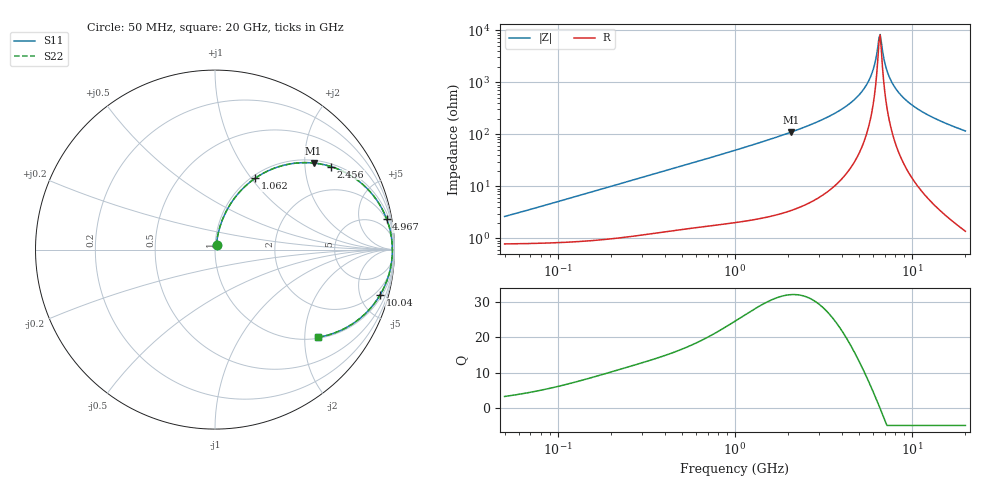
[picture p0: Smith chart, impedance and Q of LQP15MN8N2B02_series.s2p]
!Murata Part Number: LQP15MN8N2B02
!These Parameters are Measured in Series Mode Connection
!  o--[Z]--o
!Port1  Port2
!  o-------o
!Freq. Start=50[MHz] Stop=20[GHz], 401[Steps]
# Hz S RI R 50
!Freq.(Hz) S11(Real) S11(Imag) S21(Real) S21(Imag) S12(Real) S12(Imag) S22(Real) S22(Imag)
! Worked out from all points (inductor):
!   401 points, 50 MHz to 20 GHz, reference 50 ohm
!   read as one part in series: L = 8 nH near 51.52 MHz
!   highest Q = 32.1 at 2.083 GHz (marker M1), where L = 8.46 nH
!   self-resonance near 6.503 GHz
!   S11 on the Smith chart (normalised r, x): 50 MHz: 1.02, +0.05; 1.062 GHz: 1.04, +1.05; 2.456 GHz: 1.09, +2.73; 4.967 GHz: 2, +11; 10.04 GHz: 1.28, -7.20; 20 GHz: 1.03, -2.32
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5e7  0.00836 0.0247  0.9916 -0.0247  0.9916 -0.0247  0.00836 0.0247
1.364002e8  0.0132 0.0668  0.9868 -0.0668  0.9868 -0.0668  0.0132 0.0668
3.721004e8  0.0441 0.1732  0.9559 -0.1732  0.9559 -0.1732  0.0441 0.1732
1e9  0.2049 0.3838  0.7951 -0.3838  0.7951 -0.3838  0.2049 0.3838
1.061746e9  0.2246 0.3981  0.7754 -0.3981  0.7754 -0.3981  0.2246 0.3981
2.083303e9  0.5495 0.4822  0.4505 -0.4822  0.4505 -0.4822  0.5495 0.4822
2.456456e9  0.6462 0.4626  0.3538 -0.4626  0.3538 -0.4626  0.6462 0.4626
2.728004e9  0.7065 0.4394  0.2935 -0.4394  0.2935 -0.4394  0.7065 0.4394
3.850025e9  0.8763 0.3084  0.1237 -0.3084  0.1237 -0.3084  0.8763 0.3084
4.966507e9  0.9563 0.1711  0.0437 -0.1711  0.0437 -0.1711  0.9563 0.1711
5.433528e9  0.9732 0.1177  0.0268 -0.1177  0.0268 -0.1177  0.9732 0.1177
5.856089e9  0.9825 0.0721  0.0175 -0.0721  0.0175 -0.0721  0.9825 0.0721
6.125241e9  0.986 0.0444  0.014 -0.0444  0.014 -0.0444  0.986 0.0444
6.406762e9  0.9879 0.0165  0.0121 -0.0165  0.0121 -0.0165  0.9879 0.0165
6.601595e9  0.9883 -0.00212  0.0117 0.00212  0.0117 0.00212  0.9883 -0.00212
6.701223e9  0.9882 -0.0114  0.0118 0.0114  0.0118 0.0114  0.9882 -0.0114
7.114996e9  0.9861 -0.0486  0.0139 0.0486  0.0139 0.0486  0.9861 -0.0486
7.442007e9  0.9827 -0.0764  0.0173 0.0764  0.0173 0.0764  0.9827 -0.0764
8.389408e9  0.9659 -0.1493  0.0341 0.1493  0.0341 0.1493  0.9659 -0.1493
1.004137e10  0.9201 -0.2524  0.0799 0.2524  0.0799 0.2524  0.9201 -0.2524
1.354865e10  0.7944 -0.3938  0.2056 0.3938  0.2056 0.3938  0.7944 -0.3938
2e10  0.5723 -0.4889  0.4277 0.4889  0.4277 0.4889  0.5723 -0.4889
